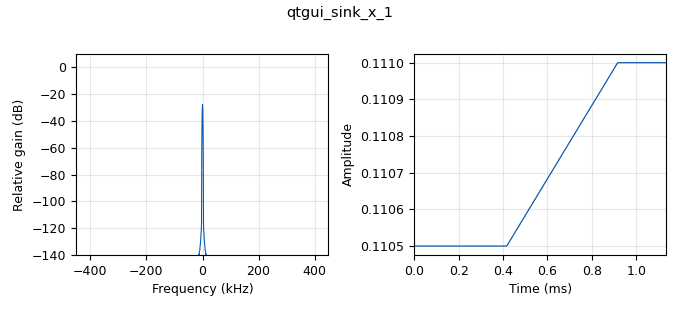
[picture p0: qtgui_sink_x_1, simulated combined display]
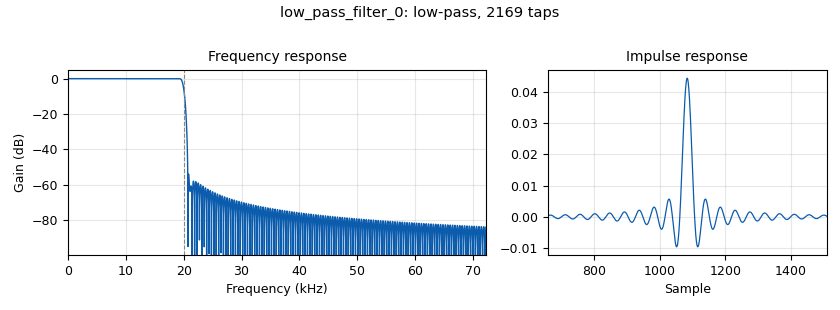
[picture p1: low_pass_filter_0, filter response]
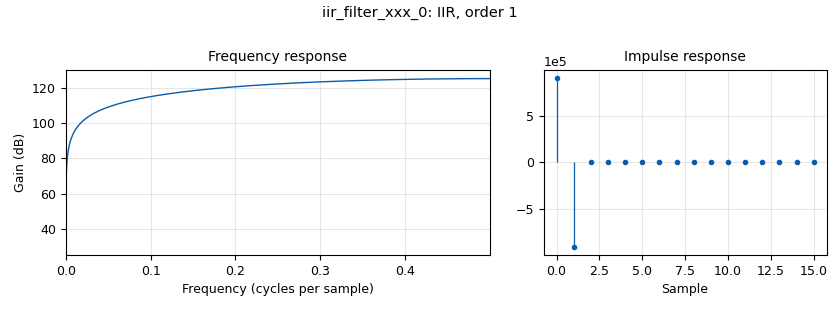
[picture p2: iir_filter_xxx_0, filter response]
options:
  parameters:
    author: amanrishalch
    generate_options: qt_gui
    id: task2
    output_language: python
    title: Task2
  states: {}

blocks:
- name: samp_rate
  id: variable
  parameters:
    value: '900000'
  states: {}
- name: analog_sig_source_x_0
  id: analog_sig_source_x
  parameters:
    amp: '1'
    freq: '1000'
    offset: '0'
    phase: '0'
    samp_rate: samp_rate
    type: float
    waveform: analog.GR_SQR_WAVE
  states: {}
- name: audio_sink_0
  id: audio_sink
  parameters:
    samp_rate: '44100'
  states: {}
- name: blocks_file_source_0
  id: blocks_file_source
  parameters:
    file: /Users/amanrishalch/Desktop/Midsem_EE340/PM2.dat
    repeat: 'True'
    type: float
  states: {}
- name: blocks_multiply_const_vxx_0
  id: blocks_multiply_const_vxx
  parameters:
    const: '0.001'
    type: float
  states: {}
- name: blocks_throttle_0
  id: blocks_throttle
  parameters:
    samples_per_second: samp_rate
    type: float
  states: {}
- name: blocks_throttle_0_0
  id: blocks_throttle
  parameters:
    samples_per_second: samp_rate
    type: float
  states: {}
- name: blocks_throttle_0_1
  id: blocks_throttle
  parameters:
    samples_per_second: samp_rate
    type: float
  states: {}
- name: blocks_throttle_0_2
  id: blocks_throttle
  parameters:
    samples_per_second: samp_rate
    type: float
  states: {}
- name: blocks_throttle_0_2_0
  id: blocks_throttle
  parameters:
    samples_per_second: samp_rate
    type: float
  states: {}
- name: blocks_throttle_0_3
  id: blocks_throttle
  parameters:
    samples_per_second: samp_rate
    type: float
  states: {}
- name: dc_blocker_xx_0
  id: dc_blocker_xx
  parameters:
    length: '10'
    long_form: 'True'
    type: ff
  states: {}
- name: epy_block_0
  id: epy_block
  parameters:
    _source_code: "\nimport numpy as np\nfrom gnuradio import gr\n \n \nclass blk(gr.sync_block):  # other base classes are basic_block, decim_block, interp_block\n    \"\"\"Embedded Python Block Envelope Detector \"\"\"\n \n    def __init__(self, threshold=0.0, mode=0, coeff=0.15):  # only default arguments here\n        \"\"\"arguments to this function show up as parameters in GRC\"\"\"\n        gr.sync_block.__init__(\n            self,\n            name='Envelope Detector',   # will show up in GRC\n            in_sig=[np.float32],\n            out_sig=[np.float32]\n        )\n        # if an attribute with the same name as a parameter is found,\n        # a callback is registered (properties work, too).\n \n        self.ry = 0\n        self.threshold = threshold\n        self.mode = mode\n        self.coeff = coeff\n \n    def work(self, input_items, output_items):\n        \"\"\"Envelope Detect with Half/Full Wave Rectifier\"\"\"\n        buf = [0] * len(output_items[0])\n        a0 = self.coeff\n        b1 = 1 - a0\n        # Rectify the signal. Mode 0 is half-wave, Mode 1 is full-wave\n        for i in range (0, len(input_items[0])) :\n            if self.mode == 1:\n                buf[i] = abs(input_items[0][i])\n            else:\n                if input_items[0][i] > self.threshold:\n                    buf[i] = input_items[0][i]\n                else:\n                    buf[i] = 0\n        # Simulate simple RC filter with a variable decay coefficient\n        for i in range(0, len(output_items[0])):\n            if i==0:\n                output_items[0][i] = a0*buf[i] + b1*self.ry\n            else:\n                output_items[0][i] = a0*buf[i] + b1*output_items[0][i-1]\n \n        i = len(output_items[0])-1\n        self.ry = output_items[0][i]\n \n        return len(output_items[0])\n"
    coeff: '0.5'
    mode: '1'
    threshold: '0'
  states: {}
- name: iir_filter_xxx_0
  id: iir_filter_xxx
  parameters:
    fbtaps: '1'
    fftaps: '[samp_rate,-samp_rate]'
    type: ffd
  states: {}
- name: iir_filter_xxx_0_0
  id: iir_filter_xxx
  parameters:
    fbtaps: '[1,1]'
    fftaps: '[0,1/samp_rate]'
    type: ffd
  states: {}
- name: iir_filter_xxx_0_0_0
  id: iir_filter_xxx
  parameters:
    fbtaps: '[1,1]'
    fftaps: '[0,1/samp_rate]'
    type: ffd
  states: {}
- name: low_pass_filter_0
  id: low_pass_filter
  parameters:
    cutoff_freq: '20000'
    decim: '1'
    gain: '1'
    samp_rate: samp_rate
    type: fir_filter_fff
    width: '1000'
    win: window.WIN_HAMMING
  states: {}
- name: qtgui_sink_x_0
  id: qtgui_sink_x
  parameters:
    bw: samp_rate
    fc: '0'
    fftsize: '1024'
    gui_hint: tab@0
    type: float
  states: {}
- name: qtgui_sink_x_0_0
  id: qtgui_sink_x
  parameters:
    bw: samp_rate
    fc: '0'
    fftsize: '1024'
    gui_hint: tab@1
    type: float
  states: {}
- name: qtgui_sink_x_0_1
  id: qtgui_sink_x
  parameters:
    bw: samp_rate
    fc: '0'
    fftsize: '1024'
    gui_hint: tab@2
    type: float
  states: {}
- name: qtgui_sink_x_0_2
  id: qtgui_sink_x
  parameters:
    bw: samp_rate
    fc: '0'
    fftsize: '1024'
    gui_hint: tab@3
    type: float
  states: {}
- name: qtgui_sink_x_0_3
  id: qtgui_sink_x
  parameters:
    bw: samp_rate
    fc: '0'
    fftsize: '1024'
    gui_hint: tab@4
    type: float
  states: {}
- name: qtgui_sink_x_1
  id: qtgui_sink_x
  parameters:
    bw: samp_rate
    fc: '0'
    fftsize: '1024'
    type: float
  states: {}
- name: qtgui_time_sink_x_0
  id: qtgui_time_sink_x
  parameters:
    gui_hint: tab@4
    size: '10240'
    srate: samp_rate
    type: float
  states: {}
- name: rational_resampler_xxx_0
  id: rational_resampler_xxx
  parameters:
    decim: '900000'
    interp: '44100'
    type: fff
  states: {}
- name: tab
  id: qtgui_tab_widget
  parameters:
    label0: Signal
    label1: Differentiated
    label2: Envelop
    label3: DC Blocked
    label4: Intergrated
    num_tabs: '5'
  states: {}

connections:
- [analog_sig_source_x_0, '0', iir_filter_xxx_0_0, '0']
- [blocks_file_source_0, '0', blocks_throttle_0, '0']
- [blocks_file_source_0, '0', iir_filter_xxx_0, '0']
- [blocks_multiply_const_vxx_0, '0', blocks_throttle_0_3, '0']
- [blocks_multiply_const_vxx_0, '0', rational_resampler_xxx_0, '0']
- [blocks_throttle_0, '0', qtgui_sink_x_0, '0']
- [blocks_throttle_0_0, '0', qtgui_sink_x_0_1, '0']
- [blocks_throttle_0_1, '0', qtgui_sink_x_0_0, '0']
- [blocks_throttle_0_2, '0', qtgui_sink_x_0_2, '0']
- [blocks_throttle_0_2_0, '0', qtgui_sink_x_1, '0']
- [blocks_throttle_0_3, '0', qtgui_sink_x_0_3, '0']
- [blocks_throttle_0_3, '0', qtgui_time_sink_x_0, '0']
- [dc_blocker_xx_0, '0', blocks_throttle_0_2, '0']
- [dc_blocker_xx_0, '0', low_pass_filter_0, '0']
- [epy_block_0, '0', blocks_throttle_0_0, '0']
- [epy_block_0, '0', dc_blocker_xx_0, '0']
- [iir_filter_xxx_0, '0', blocks_throttle_0_1, '0']
- [iir_filter_xxx_0, '0', epy_block_0, '0']
- [iir_filter_xxx_0_0, '0', blocks_throttle_0_2_0, '0']
- [iir_filter_xxx_0_0_0, '0', blocks_multiply_const_vxx_0, '0']
- [low_pass_filter_0, '0', iir_filter_xxx_0_0_0, '0']
- [rational_resampler_xxx_0, '0', audio_sink_0, '0']

metadata:
  file_format: 1
  grc_version: 3.10.9.2
